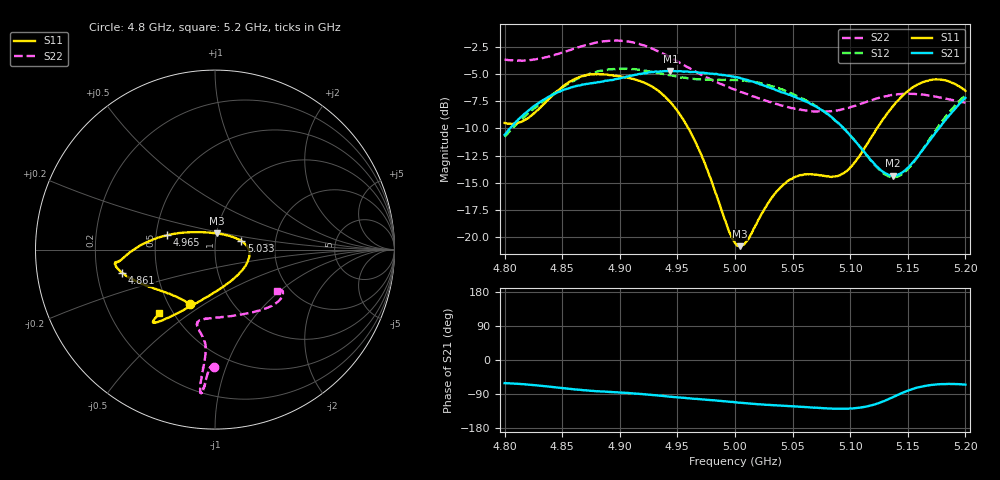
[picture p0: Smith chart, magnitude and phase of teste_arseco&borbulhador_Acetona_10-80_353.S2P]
! Network Analyzer HP8722D
! Hewlett-Packard
! Data name: Linha & Wilkinson
! Saver's name: Rodrigo Anjos
! Comments: Teste da utilização de aquisição
! continua pelo VNA HP8722D
! Time and date: 17/4/2025 17:18
!  Frequency  S11  S21  S12  S22
# HZ  S  MA R 50
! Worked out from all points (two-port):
!   401 points, 4.8 GHz to 5.2 GHz, reference 50 ohm
!   highest |S21| = -4.70 dB at 4.944 GHz (marker M1); lowest = -14.3 dB at 5.137 GHz (marker M2)
!   |S21| within 3 dB of the highest: 4.829 GHz to 5.065 GHz (236 MHz wide, 4.77 % of centre); 5.194981 GHz to end of sweep
!   lowest |S11| = -20.8 dB at 5.004 GHz (marker M3), VSWR 1.20, Z = 50.2 + j9.14 ohm
!   |S11| at or under -10 dB: 4.96 GHz to 5.123 GHz (163.6 MHz wide, 3.24 % of centre)
!   |S22| runs from -8.5 to -1.9 dB; largest |S21 - S12| = 0.87
!   S11 on the Smith chart (normalised r, x): 4.8 GHz: 0.64, -0.44; 4.861 GHz: 0.31, -0.11; 4.965 GHz: 0.57, +0.10; 5.033 GHz: 1.34, +0.13; 5.2 GHz: 0.42, -0.39
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4.8e9  0.3353 -114.3  0.2955 -61.0  0.2896 -175.2  0.6565 -90.3
4.819e9  0.35 -134.2  0.3758 -64.6  0.3646 -174.1  0.6516 -91.9
4.861e9  0.535 -166.1  0.4941 -77.7  0.5271 -177.4  0.7378 -94.2
4.867e9  0.5496 -168.5  0.5031 -79.2  0.546 -178.5  0.7568 -94.3
4.899e9  0.5502 -172.9  0.5362 -85.8  0.5951 175.0  0.802 -95.7
4.934e9  0.4692 -178.5  0.5777 -94.1  0.5701 171.4  0.7139 -96.0
4.944e9  0.4183 176.9  0.5821 -97.0  0.5552 171.5  0.6725 -95.8
4.965e9  0.2788 163.3  0.5767 -102.6  0.5342 173.3  0.581 -95.3
5e9  0.09402 98.8  0.5442 -111.6  0.5294 175.8  0.4774 -99.1
5.004e9  0.09085 83.5  0.5417 -112.6  0.527 175.8  0.4689 -100.1
5.012e9  0.09864 56.3  0.5247 -114.6  0.5217 175.5  0.4533 -101.8
5.033e9  0.1543 18.2  0.4817 -119.3  0.493 174.4  0.4146 -103.5
5.049e9  0.1849 2.2  0.4478 -122.0  0.4586 173.9  0.3925 -99.4
5.067e9  0.1946 -17.0  0.4078 -125.3  0.4116 173.4  0.3795 -90.0
5.085e9  0.1899 -45.5  0.352 -128.6  0.3518 173.5  0.3814 -76.6
5.097e9  0.2013 -69.7  0.3058 -128.6  0.3066 174.8  0.392 -66.8
5.123e9  0.3152 -109.1  0.2114 -115.5  0.2103 -170.0  0.4347 -48.6
5.134e9  0.3819 -117.7  0.1933 -102.3  0.1897 -155.2  0.4492 -43.0
5.137e9  0.3994 -119.5  0.192 -98.1  0.1886 -150.5  0.4517 -41.8
5.15e9  0.4694 -125.2  0.2085 -81.2  0.2053 -130.8  0.4572 -36.9
5.17e9  0.5292 -129.7  0.2826 -66.0  0.2881 -112.3  0.447 -32.3
5.2e9  0.4712 -131.1  0.4374 -64.9  0.4494 -107.0  0.4158 -33.7
